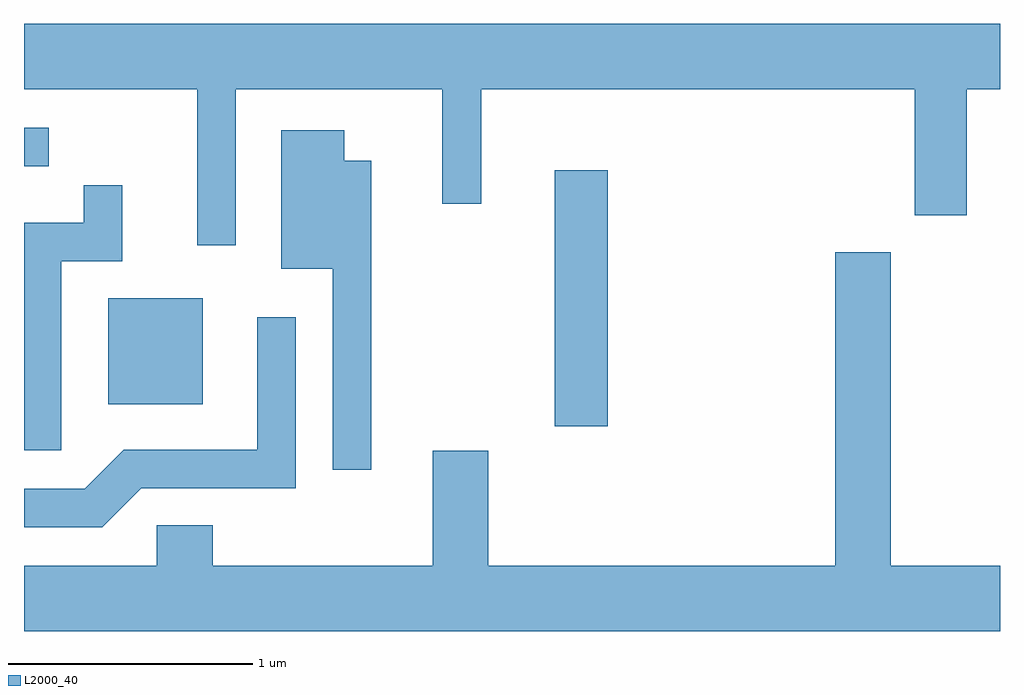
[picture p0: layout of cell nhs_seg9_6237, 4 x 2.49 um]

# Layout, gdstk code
import gdstk
lib = gdstk.Library(unit=1e-6, precision=1e-09)
def R(c, l, rs):  # rectangles x0, y0, x1, y1
    for r in rs: c.add(gdstk.rectangle(r[:2], r[2:], *l))
def P(c, l, *ps):  # polygons
    for p in ps: c.add(gdstk.Polygon(p, *l))
L2000_40 = (2000, 40)

nhs_seg9_6237 = lib.new_cell('nhs_seg9_6237')
R(nhs_seg9_6237, L2000_40, [(371.786,1981.556,372.004,1982.604), (369.956,1981.646,370.344,1982.079), (369.611,1982.621,369.713,1982.779)])
P(nhs_seg9_6237, L2000_40, [(369.611,1982.936),(370.321,1982.936),(370.321,1982.298),(370.479,1982.298),(370.479,1982.936),(371.326,1982.936),(371.326,1982.468),(371.484,1982.468),(371.484,1982.936),(373.261,1982.936),(373.261,1982.421),(373.474,1982.421),(373.474,1982.936),(373.611,1982.936),(373.611,1983.204),(369.611,1983.204)],
  [(371.034,1982.644),(370.924,1982.644),(370.924,1982.769),(370.666,1982.769),(370.666,1982.201),(370.876,1982.201),(370.876,1981.378),(371.034,1981.378)],
  [(369.764,1982.231),(370.014,1982.231),(370.014,1982.543),(369.856,1982.543),(369.856,1982.389),(369.611,1982.389),(369.611,1981.456),(369.764,1981.456)],
  [(373.611,1980.984),(373.164,1980.984),(373.164,1982.269),(372.936,1982.269),(372.936,1980.984),(371.514,1980.984),(371.514,1981.454),(371.286,1981.454),(371.286,1980.984),(370.384,1980.984),(370.384,1981.149),(370.156,1981.149),(370.156,1980.984),(369.611,1980.984),(369.611,1980.716),(373.611,1980.716)],
  [(370.092,1981.301),(370.724,1981.301),(370.724,1982.003),(370.566,1982.003),(370.566,1981.459),(370.019,1981.459),(369.859,1981.299),(369.611,1981.299),(369.611,1981.141),(369.932,1981.141)])

lib.write_gds('nhs_seg9_6237.gds')
